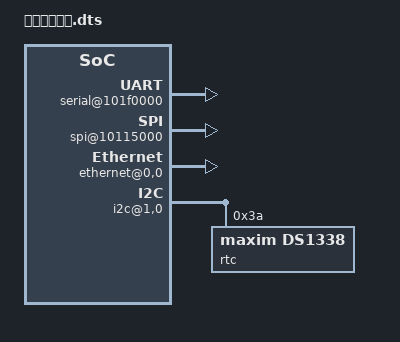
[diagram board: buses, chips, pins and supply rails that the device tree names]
/*
 *1双核ARM cortex-A9 32位处理器；ARM本地总线上的内存映射区域分布有两个
 *串口（分别位于0x101F0000和0x101F2000)、GPIO控制器（位于0x101F3000）、
 *SPI控制器（位于0x10170000)、中断控制器（位于0x10140000)和一个外部总线桥；
 *外部总线桥上连接了SMC SMC91111以太网（位于0x10100000）、I2C控制器（位于0x10160000)、
 *64MB NOR Flash （位于0x30000000）；外部总线桥上连接的I2C控制器所对应的I2C总线上
 *又连接了Maxim DS1338实时钟（I2C地址为0x58）。
 */

/ {
	compatible = "acme, coyotes-revenge";
	#address-cells = <1>;
	#size-cells = <1>;
	interrupt-parent = <&inte>;
	
	cpus {
		#address-cells = <1>;
		#size-cells = <0>;
		cpu@0 {
			compatible = "arm,cortex-a9";
			reg = <0>;
		};
		cpu@1 {
			compatible = "arm,cortex-a9";
			reg = <1>;
		};
	};
	
	serial@101f0000 {
		compatible = "arm,p1011";
		reg = <0x101f0000 0x1000>;
		interrupts = < 2 0 >;
	};
	
	gpio@101f3000 {
		compatible = "arm,p1061";
		reg =  <0x101f3000 0x1000
				0x101f4000 0x0010>;
		interrupts = < 3 0 >;
	};
	
	intc: interrupt-controller@10140000 {
		compatible = "arm,p1190";
		reg = <0x10140000 0x1000 >;
		interrupt-controller;
		#interrupt-cells = <2>;
	};
	
	spi@10115000 {
		compatible = "arm,p1022";
		reg = <0x10115000 0x1000 >;
		interrupts = < 4 0 >;
	};

	external-bus {
		#address-cells = <2>;
		#size-cells = <1>;
		ranges = <0 0 0x10100000 0x10000	//Chipselect 1, Ethernet
				  1 0 0x10160000 0x10000	//Chipselect 2, i2c controller
				  2 0 0x30000000 0x1000000>;//Chipselect 3, NOR Flash
		
		ethernet@0,0 {
			compatible = "smc,smc91c111";
			reg = <0 0 0x1000>;
			interrupts = < 5 2 >;
		};
		
		i2c@1,0 {
			compatible = "acme,a1234-i2c-bus";
			#address-cells = <1>;
			#size-cells = <0>;
			reg = <1 0 0x1000>;
			interrupts = < 6 2 >;
			rtc@58 {
				compatible = "maxim,ds1338";
				reg = <58>;
				interrupts = < 7 3 >;
			};
		};
		
		flash@2,0 {
			compatible = "samsung,k8f1315ebm", "cfi-flash";
			reg = <2 0 0x4000000>;
		};
	};
};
